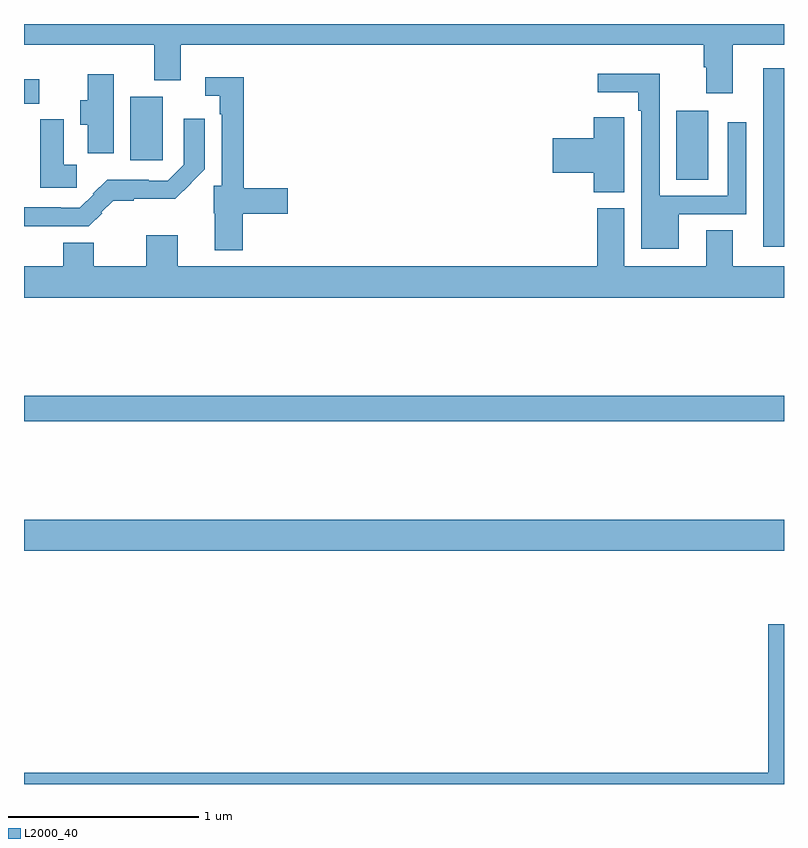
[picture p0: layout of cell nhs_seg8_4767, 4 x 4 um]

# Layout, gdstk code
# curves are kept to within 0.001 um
import gdstk
lib = gdstk.Library(unit=1e-6, precision=1e-09)
def R(c, l, rs):  # rectangles x0, y0, x1, y1
    for r in rs: c.add(gdstk.rectangle(r[:2], r[2:], *l))
def P(c, l, *ps):  # polygons
    for p in ps: c.add(gdstk.Polygon(p, *l))
L2000_40 = (2000, 40)

nhs_seg8_4767 = lib.new_cell('nhs_seg8_4767')
R(nhs_seg8_4767, L2000_40, [(399,1155.128,403,1155.292), (399,1155.808,403,1155.944), (402.89,1156.728,403,1157.668), (402.434,1157.08,402.601,1157.443), (399.56,1157.184,399.73,1157.518), (399,1157.48,399.08,1157.608)])
P(nhs_seg8_4767, L2000_40, [(399,1157.792),(399.686,1157.792),(399.686,1157.603),(399.826,1157.603),(399.826,1157.792),(402.578,1157.792),(402.578,1157.672),(402.59,1157.672),(402.59,1157.535),(402.73,1157.535),(402.73,1157.792),(403,1157.792),(403,1157.9),(399,1157.9)],
  [(402.445,1156.899),(402.801,1156.899),(402.801,1157.383),(402.705,1157.383),(402.705,1156.995),(402.345,1156.995),(402.345,1157.638),(402.021,1157.638),(402.021,1157.54),(402.233,1157.54),(402.233,1157.444),(402.249,1157.444),(402.249,1156.718),(402.445,1156.718)],
  [(399.472,1157.635),(399.335,1157.635),(399.335,1157.499),(399.296,1157.499),(399.296,1157.369),(399.335,1157.369),(399.335,1157.22),(399.472,1157.22)],
  [(400.151,1156.901),(400.387,1156.901),(400.387,1157.036),(400.157,1157.036),(400.157,1157.62),(399.954,1157.62),(399.954,1157.523),(400.029,1157.523),(400.029,1157.426),(400.041,1157.426),(400.041,1157.048),(399.999,1157.048),(399.999,1156.905),(400.004,1156.905),(400.004,1156.709),(400.151,1156.709)],
  [(402.16,1157.297),(402.159,1157.297),(402.159,1157.41),(401.999,1157.41),(401.999,1157.3),(401.784,1157.3),(401.784,1157.117),(401.999,1157.117),(401.999,1157.014),(402.16,1157.014)],
  [(399.411,1156.905),(399.407,1156.909),(399.469,1156.971),(399.577,1156.971),(399.577,1156.979),(399.797,1156.979),(399.952,1157.136),(399.952,1157.401),(399.84,1157.401),(399.84,1157.16),(399.756,1157.076),(399.656,1157.076),(399.656,1157.081),(399.437,1157.081),(399.363,1157.007),(399.366,1157.004),(399.294,1156.932),(399.194,1156.932),(399.194,1156.936),(399,1156.936),(399,1156.835),(399.341,1156.835)],
  [(399.277,1157.158),(399.208,1157.158),(399.208,1157.399),(399.086,1157.399),(399.086,1157.038),(399.277,1157.038)],
  [(403,1156.624),(402.73,1156.624),(402.73,1156.814),(402.59,1156.814),(402.59,1156.624),(402.16,1156.624),(402.16,1156.929),(402.017,1156.929),(402.017,1156.624),(399.808,1156.624),(399.808,1156.789),(399.644,1156.789),(399.644,1156.624),(399.367,1156.624),(399.367,1156.75),(399.206,1156.75),(399.206,1156.624),(399,1156.624),(399,1156.46),(403,1156.46)],
  [(403,1154.74),(402.917,1154.74),(402.917,1153.96),(399,1153.96),(399,1153.9),(403,1153.9)])

lib.write_gds('nhs_seg8_4767.gds')
